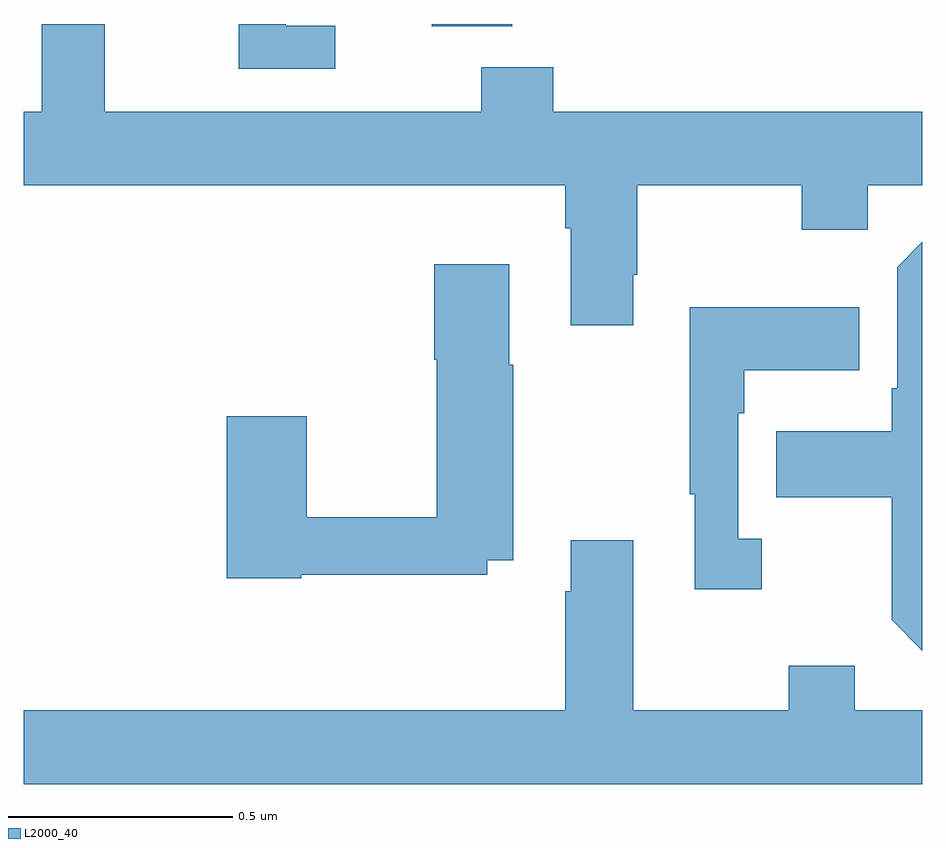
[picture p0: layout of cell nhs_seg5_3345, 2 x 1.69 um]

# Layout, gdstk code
import gdstk
lib = gdstk.Library(unit=1e-6, precision=1e-09)
def R(c, l, rs):  # rectangles x0, y0, x1, y1
    for r in rs: c.add(gdstk.rectangle(r[:2], r[2:], *l))
def P(c, l, *ps):  # polygons
    for p in ps: c.add(gdstk.Polygon(p, *l))
L2000_40 = (2000, 40)

nhs_seg5_3345 = lib.new_cell('nhs_seg5_3345')
R(nhs_seg5_3345, L2000_40, [(156.908,843.794,157.087,843.799)])
P(nhs_seg5_3345, L2000_40, [(157.357,843.241),(157.365,843.241),(157.365,843.44),(157.732,843.44),(157.732,843.341),(157.878,843.341),(157.878,843.44),(158,843.44),(158,843.604),(157.178,843.604),(157.178,843.703),(157.018,843.703),(157.018,843.604),(156.181,843.604),(156.181,843.799),(156.041,843.799),(156.041,843.604),(156,843.604),(156,843.44),(157.205,843.44),(157.205,843.344),(157.217,843.344),(157.217,843.129),(157.357,843.129)],
  [(156.694,843.795),(156.583,843.795),(156.583,843.799),(156.479,843.799),(156.479,843.699),(156.694,843.699)],
  [(158,843.314),(157.944,843.258),(157.944,842.989),(157.932,842.989),(157.932,842.893),(157.675,842.893),(157.675,842.746),(157.932,842.746),(157.932,842.473),(158,842.404)],
  [(156.618,842.574),(157.032,842.574),(157.032,842.606),(157.089,842.606),(157.089,843.041),(157.081,843.041),(157.081,843.265),(156.914,843.265),(156.914,843.052),(156.919,843.052),(156.919,842.702),(156.63,842.702),(156.63,842.926),(156.452,842.926),(156.452,842.566),(156.618,842.566)],
  [(157.642,842.654),(157.59,842.654),(157.59,842.933),(157.603,842.933),(157.603,843.029),(157.859,843.029),(157.859,843.169),(157.482,843.169),(157.482,842.753),(157.493,842.753),(157.493,842.541),(157.642,842.541)],
  [(158,842.272),(157.849,842.272),(157.849,842.371),(157.702,842.371),(157.702,842.272),(157.357,842.272),(157.357,842.65),(157.217,842.65),(157.217,842.537),(157.205,842.537),(157.205,842.272),(156,842.272),(156,842.108),(158,842.108)])

lib.write_gds('nhs_seg5_3345.gds')
